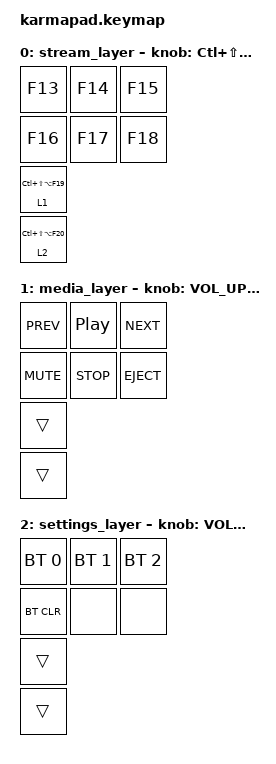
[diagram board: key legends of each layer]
/*
 * KarmaPad — 6-key wireless macropad + 2 encoder switches
 * Shield for nice_nano (Pro Micro NRF52840)
 *
 * "If humans made it, I can do it too."
 *   — 1801 Collective / Karma Ecosystem
 *
 * LAYOUT (8 inputs total):
 *   [K1] [K2] [K3]         Knob-L         Knob-R
 *   [K4] [K5] [K6]        (K7 press)     (K8 press)
 *
 * ENCODER PRESS BEHAVIOR:
 *   Tap Knob-L  = Mic mute    | Hold Knob-L = MEDIA layer
 *   Tap Knob-R  = Desk mute   | Hold Knob-R = SETTINGS layer
 */

#include <behaviors.dtsi>
#include <dt-bindings/zmk/keys.h>
#include <dt-bindings/zmk/bt.h>

/ {
    behaviors {
        enc_lt: encoder_layer_tap {
            compatible = "zmk,behavior-hold-tap";
            #binding-cells = <2>;
            tapping-term-ms = <200>;
            quick-tap-ms = <150>;
            flavor = "tap-preferred";
            bindings = <&mo>, <&kp>;
        };
    };

    keymap {
        compatible = "zmk,keymap";

        stream_layer {
            bindings = <
                &kp F13 &kp F14 &kp F15
                &kp F16 &kp F17 &kp F18
                &enc_lt 1 LC(LS(LA(F19)))
                &enc_lt 2 LC(LS(LA(F20)))
            >;
            sensor-bindings = <&inc_dec_kp LC(LS(LA(F23))) LC(LS(LA(F24)))
                               &inc_dec_kp C_VOL_UP C_VOL_DN>;
        };

        media_layer {
            bindings = <
                &kp C_PREV &kp C_PP   &kp C_NEXT
                &kp C_MUTE &kp C_STOP &kp C_EJECT
                &trans
                &trans
            >;
            sensor-bindings = <&inc_dec_kp C_VOL_UP C_VOL_DN
                               &inc_dec_kp C_BRI_UP C_BRI_DN>;
        };

        settings_layer {
            bindings = <
                &bt BT_SEL 0 &bt BT_SEL 1 &bt BT_SEL 2
                &bt BT_CLR   &none        &none
                &trans
                &trans
            >;
            sensor-bindings = <&inc_dec_kp C_VOL_UP C_VOL_DN
                               &inc_dec_kp C_VOL_UP C_VOL_DN>;
        };
    };
};
